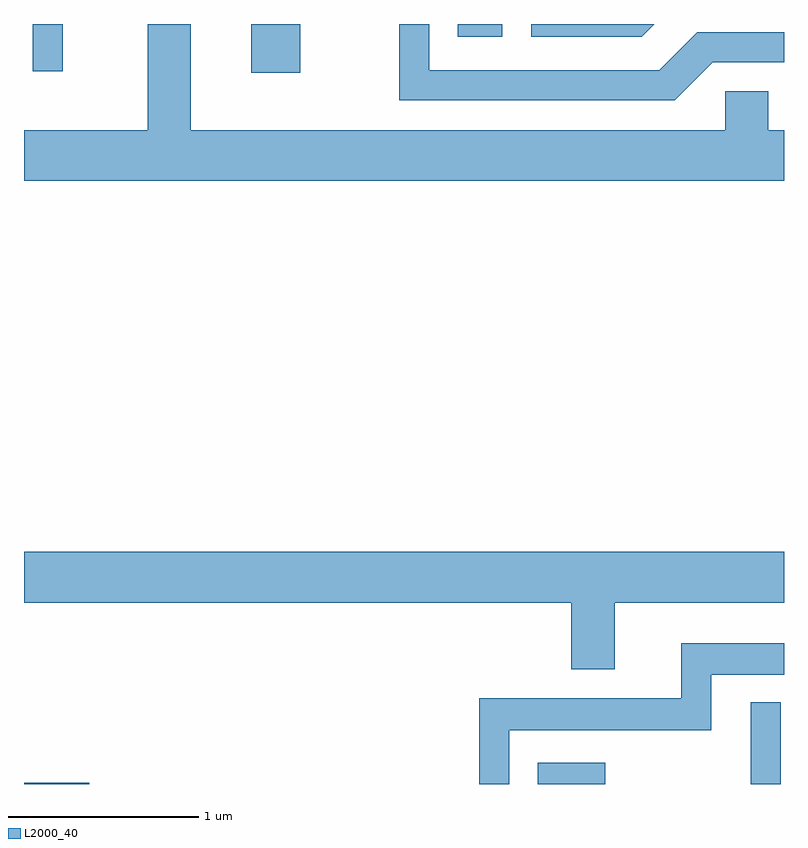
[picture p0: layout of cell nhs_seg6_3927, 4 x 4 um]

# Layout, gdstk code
import gdstk
lib = gdstk.Library(unit=1e-6, precision=1e-09)
def R(c, l, rs):  # rectangles x0, y0, x1, y1
    for r in rs: c.add(gdstk.rectangle(r[:2], r[2:], *l))
def P(c, l, *ps):  # polygons
    for p in ps: c.add(gdstk.Polygon(p, *l))
L2000_40 = (2000, 40)

nhs_seg6_3927 = lib.new_cell('nhs_seg6_3927')
R(nhs_seg6_3927, L2000_40, [(303.611,1580.162,303.954,1580.169), (306.316,1580.162,306.669,1580.274), (307.436,1580.162,307.594,1580.593), (304.806,1583.906,305.064,1584.162), (303.656,1583.913,303.814,1584.162), (305.893,1584.096,306.129,1584.162)])
P(nhs_seg6_3927, L2000_40, [(307.611,1583.604),(307.529,1583.604),(307.529,1583.809),(307.301,1583.809),(307.301,1583.604),(304.489,1583.604),(304.489,1584.162),(304.261,1584.162),(304.261,1583.604),(303.611,1583.604),(303.611,1583.336),(307.611,1583.336)],
  [(306.928,1584.162),(306.281,1584.162),(306.281,1584.096),(306.862,1584.096)],
  [(307.237,1583.961),(307.611,1583.961),(307.611,1584.119),(307.154,1584.119),(306.954,1583.919),(305.744,1583.919),(305.744,1584.162),(305.586,1584.162),(305.586,1583.761),(307.037,1583.761)],
  [(306.719,1581.116),(307.611,1581.116),(307.611,1581.384),(303.611,1581.384),(303.611,1581.116),(306.491,1581.116),(306.491,1580.766),(306.719,1580.766)],
  [(306.164,1580.446),(307.229,1580.446),(307.229,1580.736),(307.611,1580.736),(307.611,1580.904),(307.071,1580.904),(307.071,1580.614),(306.006,1580.614),(306.006,1580.162),(306.164,1580.162)])

lib.write_gds('nhs_seg6_3927.gds')
